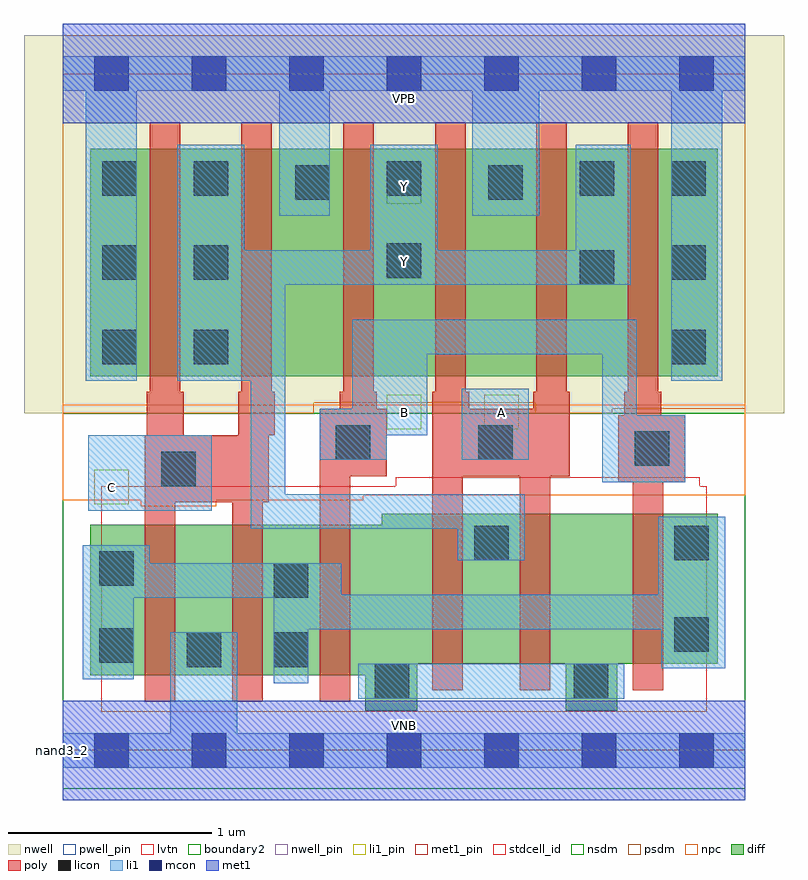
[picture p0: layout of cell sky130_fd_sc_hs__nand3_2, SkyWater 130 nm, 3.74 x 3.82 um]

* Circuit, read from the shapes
.subckt sky130_fd_sc_hs__nand3_2 A B C VGND VNB VPB VPWR Y
XM1 VGND C n1 VNB sky130_fd_pr__nfet_01v8_lvt w=0.74 l=0.15 m=2
XM2 n2 B n1 VNB sky130_fd_pr__nfet_01v8_lvt w=0.74 l=0.15 m=2
XM3 Y A n2 VNB sky130_fd_pr__nfet_01v8_lvt w=0.74 l=0.15 m=2
XM4 Y C VPWR VPB sky130_fd_pr__pfet_01v8 w=1.12 l=0.15 m=2
XM5 Y B VPWR VPB sky130_fd_pr__pfet_01v8 w=1.12 l=0.15 m=2
XM6 VPWR A Y VPB sky130_fd_pr__pfet_01v8 w=1.12 l=0.15 m=2
.ends

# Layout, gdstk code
import gdstk
lib = gdstk.Library(unit=1e-6, precision=1e-09)
def R(c, l, rs):  # rectangles x0, y0, x1, y1
    for r in rs: c.add(gdstk.rectangle(r[:2], r[2:], *l))
def A(c, l, x, y, w, h, nx, ny, dx, dy):  # array of equal rectangles
    R(c, l, [(x+i*dx, y+j*dy, x+i*dx+w, y+j*dy+h) for i in range(nx) for j in range(ny)])
def P(c, l, *ps):  # polygons
    for p in ps: c.add(gdstk.Polygon(p, *l))
nwell_pin = (64, 16)
nwell = (64, 20)
diff = (65, 20)
poly = (66, 20)
licon = (66, 44)
li1_pin = (67, 16)
li1 = (67, 20)
mcon = (67, 44)
met1_pin = (68, 16)
met1 = (68, 20)
stdcell_id = (81, 4)
nsdm = (93, 44)
psdm = (94, 20)
npc = (95, 20)
pwell_pin = (122, 16)
lvtn = (125, 44)
boundary2 = (236, 0)

sky130_fd_sc_hs__nand3_2 = lib.new_cell('sky130_fd_sc_hs__nand3_2')
R(sky130_fd_sc_hs__nand3_2, nwell_pin, [(0,3.085,3.36,3.33)])
R(sky130_fd_sc_hs__nand3_2, nwell, [(-0.19,1.66,3.55,3.52)])
R(sky130_fd_sc_hs__nand3_2, diff, [(0.135,1.84,3.225,2.96)])
P(sky130_fd_sc_hs__nand3_2, diff, [(3.225,1.165),(1.57,1.165),(1.57,1.11),(0.135,1.11),(0.135,0.37),(1.49,0.37),(1.49,0.195),(1.745,0.195),(1.745,0.425),(2.475,0.425),(2.475,0.195),(2.73,0.195),(2.73,0.425),(3.225,0.425)])
P(sky130_fd_sc_hs__nand3_2, poly, [(1.045,1.765),(1.03,1.765),(1.03,3.09),(0.88,3.09),(0.88,1.765),(0.865,1.765),(0.865,1.55),(0.595,1.55),(0.595,1.765),(0.58,1.765),(0.58,3.09),(0.43,3.09),(0.43,1.765),(0.415,1.765),(0.415,1.55),(0.405,1.55),(0.405,0.24),(0.555,0.24),(0.555,1.22),(0.835,1.22),(0.835,0.24),(0.985,0.24),(0.985,1.22),(1.015,1.22),(1.015,1.55),(1.045,1.55)],
  [(1.595,1.68),(1.545,1.68),(1.545,1.765),(1.53,1.765),(1.53,3.09),(1.38,3.09),(1.38,1.765),(1.365,1.765),(1.365,1.68),(1.265,1.68),(1.265,0.24),(1.415,0.24),(1.415,1.35),(1.595,1.35)],
  [(2.495,1.765),(2.48,1.765),(2.48,3.09),(2.33,3.09),(2.33,1.765),(2.315,1.765),(2.315,1.68),(2,1.68),(2,1.765),(1.985,1.765),(1.985,3.09),(1.835,3.09),(1.835,1.765),(1.82,1.765),(1.82,0.295),(1.97,0.295),(1.97,1.35),(2.25,1.35),(2.25,0.295),(2.4,0.295),(2.4,1.35),(2.495,1.35)],
  [(3.065,1.65),(2.945,1.65),(2.945,1.765),(2.93,1.765),(2.93,3.09),(2.78,3.09),(2.78,1.765),(2.765,1.765),(2.765,1.65),(2.735,1.65),(2.735,1.32),(2.805,1.32),(2.805,0.295),(2.955,0.295),(2.955,1.32),(3.065,1.32)])
A(sky130_fd_sc_hs__nand3_2, licon, 0.195, 1.9, 0.17, 0.17, 1, 3, 0, 0.415)
A(sky130_fd_sc_hs__nand3_2, licon, 2.995, 1.9, 0.17, 0.17, 1, 3, 0, 0.415)
A(sky130_fd_sc_hs__nand3_2, licon, 0.645, 2.73, 0.17, 0.17, 3, 1, 0.95, 0)
R(sky130_fd_sc_hs__nand3_2, licon, [(1.535,0.255,1.705,0.425), (2.515,0.255,2.685,0.425), (0.61,0.41,0.78,0.58), (1.04,0.41,1.21,0.58), (0.18,0.43,0.35,0.6), (3.01,0.485,3.18,0.655), (1.04,0.75,1.21,0.92), (0.18,0.81,0.35,0.98), (2.025,0.935,2.195,1.105), (3.01,0.935,3.18,1.105), (0.485,1.3,0.655,1.47), (2.815,1.4,2.985,1.57), (1.345,1.43,1.515,1.6), (2.045,1.43,2.215,1.6), (0.645,1.9,0.815,2.07), (2.545,2.29,2.715,2.46), (0.645,2.315,0.815,2.485), (1.595,2.325,1.765,2.495), (1.145,2.71,1.315,2.88), (2.095,2.71,2.265,2.88)])
R(sky130_fd_sc_hs__nand3_2, li1_pin, [(0.155,1.21,0.325,1.38), (1.595,1.58,1.765,1.75), (2.075,1.58,2.245,1.75), (1.595,2.32,1.765,2.49), (1.595,2.69,1.765,2.86)])
R(sky130_fd_sc_hs__nand3_2, li1, [(1.455,0.255,2.765,0.425), (0.125,1.18,0.735,1.55), (1.965,1.43,2.295,1.78)])
P(sky130_fd_sc_hs__nand3_2, li1, [(2.795,2.98),(2.525,2.98),(2.525,2.46),(1.845,2.46),(1.845,2.98),(1.515,2.98),(1.515,2.46),(0.895,2.46),(0.895,2.98),(0.565,2.98),(0.565,1.82),(0.925,1.82),(0.925,1.09),(1.945,1.09),(1.945,0.935),(2.275,0.935),(2.275,1.26),(1.095,1.26),(1.095,2.29),(2.795,2.29)],
  [(3.065,1.65),(2.825,1.65),(2.825,2.12),(1.425,2.12),(1.425,1.68),(1.265,1.68),(1.265,1.43),(1.595,1.43),(1.595,1.55),(1.795,1.55),(1.795,1.95),(2.655,1.95),(2.655,1.32),(3.065,1.32)],
  [(3.26,1.15),(2.93,1.15),(2.93,0.765),(1.37,0.765),(1.37,0.92),(0.43,0.92),(0.43,1.01),(0.1,1.01),(0.1,0.35),(0.35,0.35),(0.35,0.75),(1.04,0.75),(1.04,0.33),(1.21,0.33),(1.21,0.595),(2.945,0.595),(2.945,0.405),(3.26,0.405)],
  [(3.36,3.415),(0,3.415),(0,3.245),(0.115,3.245),(0.115,1.82),(0.365,1.82),(0.365,3.245),(1.065,3.245),(1.065,2.63),(1.315,2.63),(1.315,3.245),(2.015,3.245),(2.015,2.63),(2.345,2.63),(2.345,3.245),(2.995,3.245),(2.995,1.82),(3.245,1.82),(3.245,3.245),(3.36,3.245)],
  [(3.36,0.085),(0.86,0.085),(0.86,0.58),(0.53,0.58),(0.53,0.085),(0,0.085),(0,-0.085),(3.36,-0.085)])
A(sky130_fd_sc_hs__nand3_2, mcon, 0.155, -0.085, 0.17, 0.17, 7, 2, 0.48, 3.33)
R(sky130_fd_sc_hs__nand3_2, met1_pin, [(0,0,3.36,0.245), (0,3.085,3.36,3.33)])
R(sky130_fd_sc_hs__nand3_2, met1, [(0,-0.245,3.36,0.245), (0,3.085,3.36,3.575)])
R(sky130_fd_sc_hs__nand3_2, stdcell_id, [(0,0,3.36,3.33)])
R(sky130_fd_sc_hs__nand3_2, nsdm, [(0,-0.19,3.36,1.66)])
P(sky130_fd_sc_hs__nand3_2, psdm, [(3.36,3.52),(0,3.52),(0,1.66),(1.235,1.66),(1.235,1.71),(2.325,1.71),(2.325,1.66),(2.705,1.66),(2.705,1.68),(3.36,1.68)])
P(sky130_fd_sc_hs__nand3_2, npc, [(3.36,1.7),(0,1.7),(0,1.23),(0.385,1.23),(0.385,1.2),(0.755,1.2),(0.755,1.23),(1.48,1.23),(1.48,1.255),(3.36,1.255)])
R(sky130_fd_sc_hs__nand3_2, pwell_pin, [(0,0,3.36,0.245)])
P(sky130_fd_sc_hs__nand3_2, lvtn, [(3.17,1.3),(3.135,1.3),(3.135,1.345),(1.64,1.345),(1.64,1.3),(0.19,1.3),(0.19,0.19),(3.17,0.19)])
R(sky130_fd_sc_hs__nand3_2, boundary2, [(0,0,3.36,3.33)])
sky130_fd_sc_hs__nand3_2.add(gdstk.Label('nand3_2', (0,0), layer=83, texttype=44))
sky130_fd_sc_hs__nand3_2.add(gdstk.Label('VNB', (1.68,0.123), layer=64, texttype=59))
sky130_fd_sc_hs__nand3_2.add(gdstk.Label('VPB', (1.68,3.208), layer=64, texttype=5))
sky130_fd_sc_hs__nand3_2.add(gdstk.Label('VPWR', (1.68,3.208), layer=68, texttype=5))
sky130_fd_sc_hs__nand3_2.add(gdstk.Label('VGND', (1.68,0.123), layer=68, texttype=5))
sky130_fd_sc_hs__nand3_2.add(gdstk.Label('Y', (1.68,2.405), layer=67, texttype=5))
sky130_fd_sc_hs__nand3_2.add(gdstk.Label('Y', (1.68,2.775), layer=67, texttype=5))
sky130_fd_sc_hs__nand3_2.add(gdstk.Label('C', (0.24,1.295), layer=67, texttype=5))
sky130_fd_sc_hs__nand3_2.add(gdstk.Label('B', (1.68,1.665), layer=67, texttype=5))
sky130_fd_sc_hs__nand3_2.add(gdstk.Label('A', (2.16,1.665), layer=67, texttype=5))

lib.write_gds('sky130_fd_sc_hs__nand3_2.gds')
